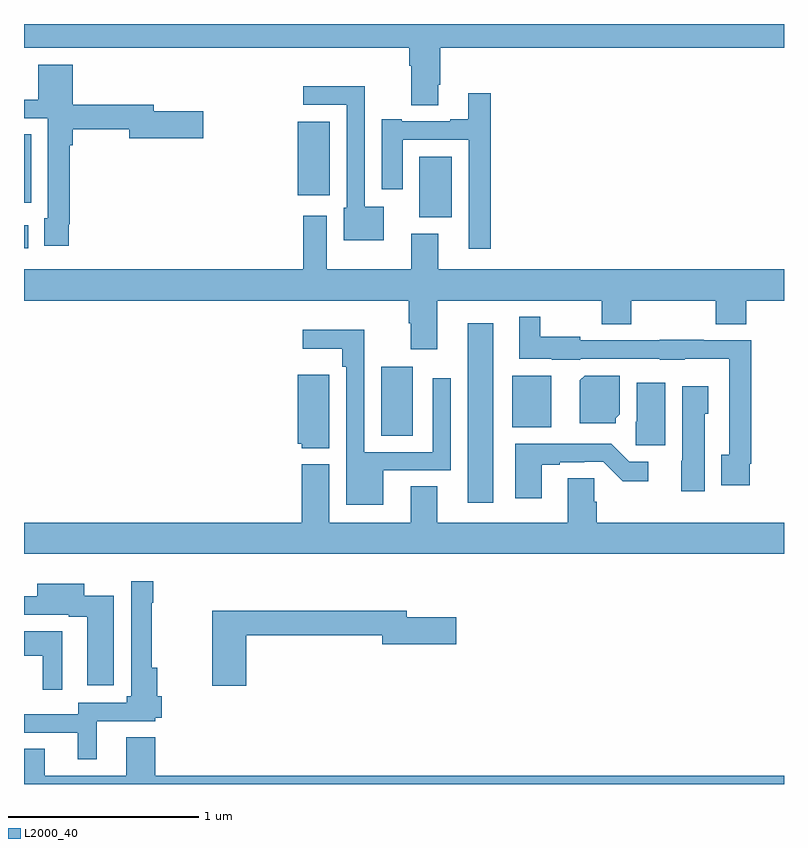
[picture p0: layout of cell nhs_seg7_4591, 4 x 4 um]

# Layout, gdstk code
import gdstk
lib = gdstk.Library(unit=1e-6, precision=1e-09)
def R(c, l, rs):  # rectangles x0, y0, x1, y1
    for r in rs: c.add(gdstk.rectangle(r[:2], r[2:], *l))
def P(c, l, *ps):  # polygons
    for p in ps: c.add(gdstk.Polygon(p, *l))
L2000_40 = (2000, 40)

nhs_seg7_4591 = lib.new_cell('nhs_seg7_4591')
R(nhs_seg7_4591, L2000_40, [(401.336,1071.48,401.47,1072.426), (400.88,1071.832,401.047,1072.195), (401.57,1071.878,401.776,1072.148), (399,1072.82,399.022,1072.942), (401.081,1072.982,401.251,1073.302), (399,1073.058,399.037,1073.42), (400.442,1073.099,400.609,1073.485)])
P(nhs_seg7_4591, L2000_40, [(401.179,1073.68),(401.192,1073.68),(401.192,1073.876),(403,1073.876),(403,1074),(399,1074),(399,1073.876),(401.027,1073.876),(401.027,1073.78),(401.039,1073.78),(401.039,1073.572),(401.179,1073.572)],
  [(399.235,1072.945),(399.242,1072.945),(399.242,1073.363),(399.256,1073.363),(399.256,1073.446),(399.554,1073.446),(399.554,1073.399),(399.943,1073.399),(399.943,1073.541),(399.682,1073.541),(399.682,1073.575),(399.256,1073.575),(399.256,1073.785),(399.074,1073.785),(399.074,1073.601),(399,1073.601),(399,1073.505),(399.126,1073.505),(399.126,1072.977),(399.107,1072.977),(399.107,1072.833),(399.235,1072.833)],
  [(400.894,1073.038),(400.794,1073.038),(400.794,1073.672),(400.47,1073.672),(400.47,1073.574),(400.698,1073.574),(400.698,1073.034),(400.682,1073.034),(400.682,1072.862),(400.894,1072.862)],
  [(401.456,1073.635),(401.339,1073.635),(401.339,1073.5),(401.243,1073.5),(401.243,1073.487),(400.987,1073.487),(400.987,1073.5),(400.883,1073.5),(400.883,1073.13),(400.993,1073.13),(400.993,1073.391),(401.34,1073.391),(401.34,1072.818),(401.456,1072.818)],
  [(401.176,1072.544),(402.04,1072.544),(402.04,1072.42),(402.195,1072.42),(402.195,1072.544),(402.64,1072.544),(402.64,1072.42),(402.8,1072.42),(402.8,1072.544),(403,1072.544),(403,1072.708),(401.179,1072.708),(401.179,1072.897),(401.039,1072.897),(401.039,1072.708),(400.594,1072.708),(400.594,1072.99),(400.469,1072.99),(400.469,1072.708),(399,1072.708),(399,1072.544),(401.024,1072.544),(401.024,1072.424),(401.036,1072.424),(401.036,1072.287),(401.176,1072.287)],
  [(402.82,1071.685),(402.827,1071.685),(402.827,1072.335),(402.577,1072.335),(402.577,1072.337),(402.345,1072.337),(402.345,1072.335),(401.928,1072.335),(401.928,1072.354),(401.716,1072.354),(401.716,1072.459),(401.606,1072.459),(401.606,1072.238),(401.778,1072.238),(401.778,1072.232),(401.928,1072.232),(401.928,1072.239),(402.345,1072.239),(402.345,1072.232),(402.477,1072.232),(402.477,1072.238),(402.711,1072.238),(402.711,1071.734),(402.671,1071.734),(402.671,1071.573),(402.82,1071.573)],
  [(400.891,1071.651),(401.247,1071.651),(401.247,1072.135),(401.151,1072.135),(401.151,1071.747),(400.791,1071.747),(400.791,1072.39),(400.467,1072.39),(400.467,1072.292),(400.675,1072.292),(400.675,1072.196),(400.695,1072.196),(400.695,1071.47),(400.891,1071.47)],
  [(400.606,1072.153),(400.442,1072.153),(400.442,1071.792),(400.461,1071.792),(400.461,1071.767),(400.606,1071.767)],
  [(402.114,1071.924),(402.136,1071.946),(402.136,1072.15),(401.95,1072.15),(401.924,1072.124),(401.924,1071.899),(402.114,1071.899)],
  [(402.376,1072.111),(402.224,1072.111),(402.224,1071.906),(402.22,1071.906),(402.22,1071.783),(402.376,1071.783)],
  [(402.583,1071.948),(402.601,1071.948),(402.601,1072.093),(402.464,1072.093),(402.464,1071.702),(402.458,1071.702),(402.458,1071.54),(402.583,1071.54)],
  [(401.725,1071.681),(401.821,1071.681),(401.821,1071.693),(401.948,1071.693),(401.948,1071.696),(402.048,1071.696),(402.151,1071.594),(402.286,1071.594),(402.286,1071.696),(402.186,1071.696),(402.092,1071.79),(401.585,1071.79),(401.585,1071.504),(401.725,1071.504)],
  [(403,1071.376),(402.014,1071.376),(402.014,1071.486),(402,1071.486),(402,1071.608),(401.861,1071.608),(401.861,1071.376),(401.176,1071.376),(401.176,1071.566),(401.036,1071.566),(401.036,1071.376),(400.606,1071.376),(400.606,1071.682),(400.463,1071.682),(400.463,1071.376),(399,1071.376),(399,1071.212),(403,1071.212)],
  [(399.382,1070.331),(399.69,1070.331),(399.69,1070.349),(399.725,1070.349),(399.725,1070.463),(399.702,1070.463),(399.702,1070.611),(399.673,1070.611),(399.673,1070.954),(399.68,1070.954),(399.68,1071.067),(399.564,1071.067),(399.564,1070.463),(399.542,1070.463),(399.542,1070.427),(399.285,1070.427),(399.285,1070.367),(399,1070.367),(399,1070.271),(399.284,1070.271),(399.284,1070.13),(399.382,1070.13)],
  [(399.472,1070.991),(399.316,1070.991),(399.316,1071.055),(399.071,1071.055),(399.071,1070.988),(399,1070.988),(399,1070.892),(399.236,1070.892),(399.236,1070.88),(399.332,1070.88),(399.332,1070.52),(399.472,1070.52)],
  [(400.169,1070.782),(400.886,1070.782),(400.886,1070.735),(401.275,1070.735),(401.275,1070.877),(401.014,1070.877),(401.014,1070.911),(399.991,1070.911),(399.991,1070.517),(400.169,1070.517)],
  [(399.202,1070.803),(399,1070.803),(399,1070.675),(399.098,1070.675),(399.098,1070.496),(399.202,1070.496)],
  [(403,1070.044),(399.692,1070.044),(399.692,1070.246),(399.539,1070.246),(399.539,1070.044),(399.109,1070.044),(399.109,1070.186),(399,1070.186),(399,1070),(403,1070)])

lib.write_gds('nhs_seg7_4591.gds')
